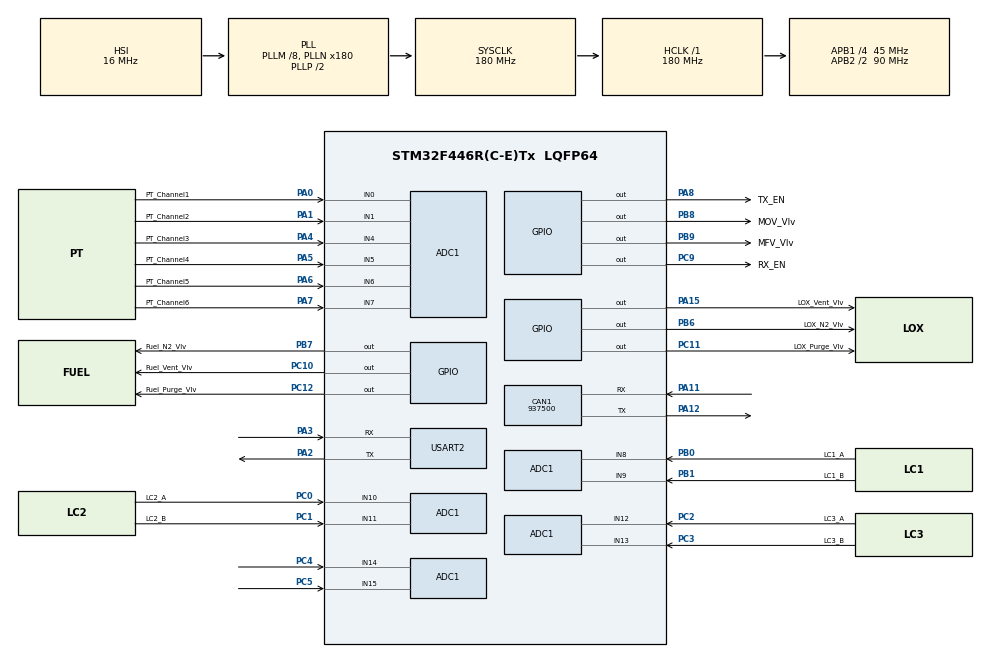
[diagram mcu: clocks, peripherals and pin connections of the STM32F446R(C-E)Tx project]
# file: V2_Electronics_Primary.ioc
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ADC1.Channel-0\#ChannelRegularConversion=ADC_CHANNEL_4
ADC1.ContinuousConvMode=ENABLE
ADC1.DMAContinuousRequests=ENABLE
ADC1.NbrOfConversionFlag=1
ADC1.Rank-0\#ChannelRegularConversion=1
ADC1.SamplingTime-0\#ChannelRegularConversion=ADC_SAMPLETIME_3CYCLES
ADC1.ScanConvMode=ENABLE
ADC1.master=1
CAN1.CalculateBaudRate=937500
CAN1.CalculateTimeBit=1066
CAN1.CalculateTimeQuantum=355.55555555555554
Dma.ADC1.0.Direction=DMA_PERIPH_TO_MEMORY
Dma.ADC1.0.FIFOMode=DMA_FIFOMODE_ENABLE
Dma.ADC1.0.FIFOThreshold=DMA_FIFO_THRESHOLD_FULL
Dma.ADC1.0.Instance=DMA2_Stream0
Dma.ADC1.0.MemBurst=DMA_MBURST_SINGLE
Dma.ADC1.0.MemDataAlignment=DMA_MDATAALIGN_WORD
Dma.ADC1.0.MemInc=DMA_MINC_ENABLE
Dma.ADC1.0.Mode=DMA_CIRCULAR
Dma.ADC1.0.PeriphBurst=DMA_PBURST_SINGLE
Dma.ADC1.0.PeriphDataAlignment=DMA_PDATAALIGN_HALFWORD
Dma.ADC1.0.PeriphInc=DMA_PINC_DISABLE
Dma.ADC1.0.Priority=DMA_PRIORITY_VERY_HIGH
Dma.Request0=ADC1
Dma.Request1=USART2_RX
Dma.USART2_RX.1.Direction=DMA_PERIPH_TO_MEMORY
Dma.USART2_RX.1.FIFOMode=DMA_FIFOMODE_DISABLE
Dma.USART2_RX.1.Instance=DMA1_Stream5
Dma.USART2_RX.1.MemDataAlignment=DMA_MDATAALIGN_BYTE
Dma.USART2_RX.1.MemInc=DMA_MINC_ENABLE
Dma.USART2_RX.1.Mode=DMA_NORMAL
Dma.USART2_RX.1.PeriphDataAlignment=DMA_PDATAALIGN_BYTE
Dma.USART2_RX.1.PeriphInc=DMA_PINC_DISABLE
Dma.USART2_RX.1.Priority=DMA_PRIORITY_MEDIUM
FREERTOS.Tasks01=Check_Redline,40,128,Start_Check_Redline,Default,NULL,Dynamic,NULL,NULL;Command_Process,24,128,Start_Command_Process,Default,NULL,Dynamic,NULL,NULL;Telemetry_Sendh,8,128,Start_Telemetry_Sendhousekeeping,Default,NULL,Dynamic,NULL,NULL
FREERTOS.configENABLE_FPU=1
Mcu.Family=STM32F4
Mcu.Name=STM32F446R(C-E)Tx
Mcu.Package=LQFP64
NVIC.ADC_IRQn=true\:5\:0\:false\:false\:true\:true\:true\:true\:true
NVIC.DMA1_Stream5_IRQn=true\:5\:0\:false\:false\:true\:true\:false\:true\:true
NVIC.DMA2_Stream0_IRQn=true\:5\:0\:false\:false\:true\:true\:false\:true\:true
NVIC.PriorityGroup=NVIC_PRIORITYGROUP_4
NVIC.TIM2_IRQn=true\:5\:0\:false\:false\:true\:true\:true\:true\:true
NVIC.TIM6_DAC_IRQn=true\:15\:0\:false\:false\:true\:false\:false\:true\:true
NVIC.TimeBase=TIM6_DAC_IRQn
NVIC.TimeBaseIP=TIM6
NVIC.USART2_IRQn=true\:5\:0\:false\:false\:true\:true\:true\:true\:true
PA0-WKUP.GPIO_Label=PT_Channel1
PA0-WKUP.Signal=ADCx_IN0
PA1.GPIO_Label=PT_Channel2
PA1.Signal=ADCx_IN1
PA11.Mode=CAN_Activate
PA11.Signal=CAN1_RX
PA12.Mode=CAN_Activate
PA12.Signal=CAN1_TX
PA13.Mode=Trace_Asynchronous_SW
PA13.Signal=SYS_JTMS-SWDIO
PA14.Mode=Trace_Asynchronous_SW
PA14.Signal=SYS_JTCK-SWCLK
PA15.GPIO_Label=LOX_Vent_Vlv
PA15.Signal=GPIO_Output
PA2.Mode=Asynchronous
PA2.Signal=USART2_TX
PA3.Mode=Asynchronous
PA3.Signal=USART2_RX
PA4.GPIO_Label=PT_Channel3
PA4.Signal=ADCx_IN4
PA5.GPIO_Label=PT_Channel4
PA5.Signal=ADCx_IN5
PA6.GPIO_Label=PT_Channel5
PA6.Signal=ADCx_IN6
PA7.GPIO_Label=PT_Channel6
PA7.Signal=ADCx_IN7
PA8.GPIO_Label=TX_EN
PA8.Signal=GPIO_Output
PB0.GPIO_Label=LC1_A
PB0.Signal=ADCx_IN8
PB1.GPIO_Label=LC1_B
PB1.Signal=ADCx_IN9
PB3.Mode=Trace_Asynchronous_SW
PB3.Signal=SYS_JTDO-SWO
PB6.GPIO_Label=LOX_N2_Vlv
PB6.Signal=GPIO_Output
PB7.GPIO_Label=Fuel_N2_Vlv
PB7.Signal=GPIO_Output
PB8.GPIO_Label=MOV_Vlv
PB8.Signal=GPIO_Output
PB9.GPIO_Label=MFV_Vlv
PB9.Signal=GPIO_Output
PC0.GPIO_Label=LC2_A
PC0.Signal=ADCx_IN10
PC1.GPIO_Label=LC2_B
PC1.Signal=ADCx_IN11
PC10.GPIO_Label=Fuel_Vent_Vlv
PC10.Signal=GPIO_Output
PC11.GPIO_Label=LOX_Purge_Vlv
PC11.Signal=GPIO_Output
PC12.GPIO_Label=Fuel_Purge_Vlv
PC12.Signal=GPIO_Output
PC2.GPIO_Label=LC3_A
PC2.Signal=ADCx_IN12
PC3.GPIO_Label=LC3_B
PC3.Signal=ADCx_IN13
PC4.Signal=ADCx_IN14
PC5.Signal=ADCx_IN15
PC9.GPIO_Label=RX_EN
PC9.Signal=GPIO_Output
ProjectManager.HeapSize=0x200
ProjectManager.StackSize=0x400
ProjectManager.TargetToolchain=STM32CubeIDE
RCC.AHBFreq_Value=180000000
RCC.APB1CLKDivider=RCC_HCLK_DIV4
RCC.APB1Freq_Value=45000000
RCC.APB1TimFreq_Value=90000000
RCC.APB2CLKDivider=RCC_HCLK_DIV2
RCC.APB2Freq_Value=90000000
RCC.APB2TimFreq_Value=180000000
RCC.CortexFreq_Value=180000000
RCC.HCLKFreq_Value=180000000
RCC.PLLM=8
RCC.PLLN=180
RCC.SYSCLKFreq_VALUE=180000000
RCC.SYSCLKSource=RCC_SYSCLKSOURCE_PLLCLK
RCC.USBFreq_Value=180000000
RCC.VCOOutputFreq_Value=360000000
SH.ADCx_IN0.0=ADC1_IN0,IN0
SH.ADCx_IN1.0=ADC1_IN1,IN1
SH.ADCx_IN10.0=ADC1_IN10,IN10
SH.ADCx_IN11.0=ADC1_IN11,IN11
SH.ADCx_IN12.0=ADC1_IN12,IN12
SH.ADCx_IN13.0=ADC1_IN13,IN13
SH.ADCx_IN14.0=ADC1_IN14,IN14
SH.ADCx_IN15.0=ADC1_IN15,IN15
SH.ADCx_IN4.0=ADC1_IN4,IN4
SH.ADCx_IN5.0=ADC1_IN5,IN5
SH.ADCx_IN6.0=ADC1_IN6,IN6
SH.ADCx_IN7.0=ADC1_IN7,IN7
SH.ADCx_IN8.0=ADC1_IN8,IN8
SH.ADCx_IN9.0=ADC1_IN9,IN9
TIM2.Period=10 - 1
TIM2.Prescaler=9000 - 1
USART2.VirtualMode=VM_ASYNC
VP_FREERTOS_VS_CMSIS_V2.Mode=CMSIS_V2
VP_SYS_VS_tim6.Mode=TIM6
VP_TIM2_VS_ClockSourceINT.Mode=Internal
board=NUCLEO-F446RE

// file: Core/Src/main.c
/* USER CODE BEGIN Header */
/**
 ******************************************************************************
 * @file           : main.c
 * @brief          : Main program body
 ******************************************************************************
 * @attention
 *
 * Copyright (c) 2026 STMicroelectronics.
 * All rights reserved.
 *
 * This software is licensed under terms that can be found in the LICENSE file
 * in the root directory of this software component.
 * If no LICENSE file comes with this software, it is provided AS-IS.
 *
 ******************************************************************************
 */
/* USER CODE END Header */
#include "main.h"
#include "cmsis_os.h"

/* USER CODE BEGIN Includes */
#include "sensors.h"
#include "scheduler.h"
#include "command.h"
#include "tasks.h"
/* USER CODE END Includes */

/* USER CODE BEGIN PD */
#define ACD_BUF_LEN 4096
/* USER CODE END PD */

ADC_HandleTypeDef hadc1;
DMA_HandleTypeDef hdma_adc1;

CAN_HandleTypeDef hcan1;

TIM_HandleTypeDef htim2;

UART_HandleTypeDef huart2;
DMA_HandleTypeDef hdma_usart2_rx;

/* Definitions for Check_Redline */
osThreadId_t Check_RedlineHandle;
const osThreadAttr_t Check_Redline_attributes = {
  .name = "Check_Redline",
  .stack_size = 128 * 4,
  .priority = (osPriority_t) osPriorityHigh,
};
/* Definitions for Command_Process */
osThreadId_t Command_ProcessHandle;
const osThreadAttr_t Command_Process_attributes = {
  .name = "Command_Process",
  .stack_size = 128 * 4,
  .priority = (osPriority_t) osPriorityNormal,
};
/* Definitions for Telemetry_Sendh */
osThreadId_t Telemetry_SendhHandle;
const osThreadAttr_t Telemetry_Sendh_attributes = {
  .name = "Telemetry_Sendh",
  .stack_size = 128 * 4,
  .priority = (osPriority_t) osPriorityLow,
};
/* USER CODE BEGIN PV */

uint8_t currentState = Idle;
/* USER CODE END PV */

void SystemClock_Config(void);
static void MX_GPIO_Init(void);
static void MX_DMA_Init(void);
static void MX_ADC1_Init(void);
static void MX_TIM2_Init(void);
static void MX_USART2_UART_Init(void);
static void MX_CAN1_Init(void);
void Start_Check_Redline(void *argument);
void Start_Command_Process(void *argument);
void Start_Telemetry_Sendhousekeeping(void *argument);

int main(void)
{

  /* MCU Configuration--------------------------------------------------------*/

  /* Reset of all peripherals, Initializes the Flash interface and the Systick. */
  HAL_Init();

  /* Configure the system clock */
  SystemClock_Config();

  /* Initialize all configured peripherals */
  MX_GPIO_Init();
  MX_DMA_Init();
  MX_ADC1_Init();
  MX_TIM2_Init();
  MX_USART2_UART_Init();
  MX_CAN1_Init();
  /* USER CODE BEGIN 2 */
	HAL_TIM_Base_Start_IT(&htim2); //start the timer interupt
	Sensors_Init();
	Command_Init();
  /* USER CODE END 2 */

  /* Init scheduler */
  osKernelInitialize();

  /* Create the thread(s) */
  /* creation of Check_Redline */
  Check_RedlineHandle = osThreadNew(Start_Check_Redline, NULL, &Check_Redline_attributes);

  /* creation of Command_Process */
  Command_ProcessHandle = osThreadNew(Start_Command_Process, NULL, &Command_Process_attributes);

  /* creation of Telemetry_Sendh */
  Telemetry_SendhHandle = osThreadNew(Start_Telemetry_Sendhousekeeping, NULL, &Telemetry_Sendh_attributes);

  /* Start scheduler */
  osKernelStart();

  /* We should never get here as control is now taken by the scheduler */

  /* Infinite loop */
	while (1)
	{

	}
}

void SystemClock_Config(void)
{
  RCC_OscInitTypeDef RCC_OscInitStruct = {0};
  RCC_ClkInitTypeDef RCC_ClkInitStruct = {0};

  /** Configure the main internal regulator output voltage
  */
  __HAL_RCC_PWR_CLK_ENABLE();
  __HAL_PWR_VOLTAGESCALING_CONFIG(PWR_REGULATOR_VOLTAGE_SCALE1);

  /** Initializes the RCC Oscillators according to the specified parameters
  * in the RCC_OscInitTypeDef structure.
  */
  RCC_OscInitStruct.OscillatorType = RCC_OSCILLATORTYPE_HSI;
  RCC_OscInitStruct.HSIState = RCC_HSI_ON;
  RCC_OscInitStruct.HSICalibrationValue = RCC_HSICALIBRATION_DEFAULT;
  RCC_OscInitStruct.PLL.PLLState = RCC_PLL_ON;
  RCC_OscInitStruct.PLL.PLLSource = RCC_PLLSOURCE_HSI;
  RCC_OscInitStruct.PLL.PLLM = 8;
  RCC_OscInitStruct.PLL.PLLN = 180;
  RCC_OscInitStruct.PLL.PLLP = RCC_PLLP_DIV2;
  RCC_OscInitStruct.PLL.PLLQ = 2;
  RCC_OscInitStruct.PLL.PLLR = 2;
  if (HAL_RCC_OscConfig(&RCC_OscInitStruct) != HAL_OK)
  {
    Error_Handler();
  }

  /** Activate the Over-Drive mode
  */
  if (HAL_PWREx_EnableOverDrive() != HAL_OK)
  {
    Error_Handler();
  }

  /** Initializes the CPU, AHB and APB buses clocks
  */
  RCC_ClkInitStruct.ClockType = RCC_CLOCKTYPE_HCLK|RCC_CLOCKTYPE_SYSCLK
                              |RCC_CLOCKTYPE_PCLK1|RCC_CLOCKTYPE_PCLK2;
  RCC_ClkInitStruct.SYSCLKSource = RCC_SYSCLKSOURCE_PLLCLK;
  RCC_ClkInitStruct.AHBCLKDivider = RCC_SYSCLK_DIV1;
  RCC_ClkInitStruct.APB1CLKDivider = RCC_HCLK_DIV4;
  RCC_ClkInitStruct.APB2CLKDivider = RCC_HCLK_DIV2;

  if (HAL_RCC_ClockConfig(&RCC_ClkInitStruct, FLASH_LATENCY_5) != HAL_OK)
  {
    Error_Handler();
  }
}

static void MX_ADC1_Init(void)
{

  ADC_ChannelConfTypeDef sConfig = {0};

  /** Configure the global features of the ADC (Clock, Resolution, Data Alignment and number of conversion)
  */
  hadc1.Instance = ADC1;
  hadc1.Init.ClockPrescaler = ADC_CLOCK_SYNC_PCLK_DIV4;
  hadc1.Init.Resolution = ADC_RESOLUTION_12B;
  hadc1.Init.ScanConvMode = ENABLE;
  hadc1.Init.ContinuousConvMode = ENABLE;
  hadc1.Init.DiscontinuousConvMode = DISABLE;
  hadc1.Init.ExternalTrigConvEdge = ADC_EXTERNALTRIGCONVEDGE_NONE;
  hadc1.Init.ExternalTrigConv = ADC_SOFTWARE_START;
  hadc1.Init.DataAlign = ADC_DATAALIGN_RIGHT;
  hadc1.Init.NbrOfConversion = 1;
  hadc1.Init.DMAContinuousRequests = ENABLE;
  hadc1.Init.EOCSelection = ADC_EOC_SINGLE_CONV;
  if (HAL_ADC_Init(&hadc1) != HAL_OK)
  {
    Error_Handler();
  }

  /** Configure for the selected ADC regular channel its corresponding rank in the sequencer and its sample time.
  */
  sConfig.Channel = ADC_CHANNEL_4;
  sConfig.Rank = 1;
  sConfig.SamplingTime = ADC_SAMPLETIME_3CYCLES;
  if (HAL_ADC_ConfigChannel(&hadc1, &sConfig) != HAL_OK)
  {
    Error_Handler();
  }

}

static void MX_CAN1_Init(void)
{

  hcan1.Instance = CAN1;
  hcan1.Init.Prescaler = 16;
  hcan1.Init.Mode = CAN_MODE_NORMAL;
  hcan1.Init.SyncJumpWidth = CAN_SJW_1TQ;
  hcan1.Init.TimeSeg1 = CAN_BS1_1TQ;
  hcan1.Init.TimeSeg2 = CAN_BS2_1TQ;
  hcan1.Init.TimeTriggeredMode = DISABLE;
  hcan1.Init.AutoBusOff = DISABLE;
  hcan1.Init.AutoWakeUp = DISABLE;
  hcan1.Init.AutoRetransmission = DISABLE;
  hcan1.Init.ReceiveFifoLocked = DISABLE;
  hcan1.Init.TransmitFifoPriority = DISABLE;
  if (HAL_CAN_Init(&hcan1) != HAL_OK)
  {
    Error_Handler();
  }

}

static void MX_TIM2_Init(void)
{

  TIM_ClockConfigTypeDef sClockSourceConfig = {0};
  TIM_MasterConfigTypeDef sMasterConfig = {0};

  htim2.Instance = TIM2;
  htim2.Init.Prescaler = 9000 - 1;
  htim2.Init.CounterMode = TIM_COUNTERMODE_UP;
  htim2.Init.Period = 10 - 1;
  htim2.Init.ClockDivision = TIM_CLOCKDIVISION_DIV1;
  htim2.Init.AutoReloadPreload = TIM_AUTORELOAD_PRELOAD_DISABLE;
  if (HAL_TIM_Base_Init(&htim2) != HAL_OK)
  {
    Error_Handler();
  }
  sClockSourceConfig.ClockSource = TIM_CLOCKSOURCE_INTERNAL;
  if (HAL_TIM_ConfigClockSource(&htim2, &sClockSourceConfig) != HAL_OK)
  {
    Error_Handler();
  }
  sMasterConfig.MasterOutputTrigger = TIM_TRGO_RESET;
  sMasterConfig.MasterSlaveMode = TIM_MASTERSLAVEMODE_DISABLE;
  if (HAL_TIMEx_MasterConfigSynchronization(&htim2, &sMasterConfig) != HAL_OK)
  {
    Error_Handler();
  }

}

static void MX_USART2_UART_Init(void)
{

  huart2.Instance = USART2;
  huart2.Init.BaudRate = 115200;
  huart2.Init.WordLength = UART_WORDLENGTH_8B;
  huart2.Init.StopBits = UART_STOPBITS_1;
  huart2.Init.Parity = UART_PARITY_NONE;
  huart2.Init.Mode = UART_MODE_TX_RX;
  huart2.Init.HwFlowCtl = UART_HWCONTROL_NONE;
  huart2.Init.OverSampling = UART_OVERSAMPLING_16;
  if (HAL_UART_Init(&huart2) != HAL_OK)
  {
    Error_Handler();
  }

}

static void MX_DMA_Init(void)
{

  /* DMA controller clock enable */
  __HAL_RCC_DMA2_CLK_ENABLE();
  __HAL_RCC_DMA1_CLK_ENABLE();

  /* DMA interrupt init */
  /* DMA1_Stream5_IRQn interrupt configuration */
  HAL_NVIC_SetPriority(DMA1_Stream5_IRQn, 5, 0);
  HAL_NVIC_EnableIRQ(DMA1_Stream5_IRQn);
  /* DMA2_Stream0_IRQn interrupt configuration */
  HAL_NVIC_SetPriority(DMA2_Stream0_IRQn, 5, 0);
  HAL_NVIC_EnableIRQ(DMA2_Stream0_IRQn);

}

static void MX_GPIO_Init(void)
{
  GPIO_InitTypeDef GPIO_InitStruct = {0};

  /* GPIO Ports Clock Enable */
  __HAL_RCC_GPIOC_CLK_ENABLE();
  __HAL_RCC_GPIOA_CLK_ENABLE();
  __HAL_RCC_GPIOB_CLK_ENABLE();

  /*Configure GPIO pin Output Level */
  HAL_GPIO_WritePin(GPIOC, RX_EN_Pin|Fuel_Vent_Vlv_Pin|LOX_Purge_Vlv_Pin|Fuel_Purge_Vlv_Pin, GPIO_PIN_RESET);

  /*Configure GPIO pin Output Level */
  HAL_GPIO_WritePin(GPIOA, TX_EN_Pin|LOX_Vent_Vlv_Pin, GPIO_PIN_RESET);

  /*Configure GPIO pin Output Level */
  HAL_GPIO_WritePin(GPIOB, LOX_N2_Vlv_Pin|Fuel_N2_Vlv_Pin|MOV_Vlv_Pin|MFV_Vlv_Pin, GPIO_PIN_RESET);

  /*Configure GPIO pins : RX_EN_Pin Fuel_Vent_Vlv_Pin LOX_Purge_Vlv_Pin Fuel_Purge_Vlv_Pin */
  GPIO_InitStruct.Pin = RX_EN_Pin|Fuel_Vent_Vlv_Pin|LOX_Purge_Vlv_Pin|Fuel_Purge_Vlv_Pin;
  GPIO_InitStruct.Mode = GPIO_MODE_OUTPUT_PP;
  GPIO_InitStruct.Pull = GPIO_NOPULL;
  GPIO_InitStruct.Speed = GPIO_SPEED_FREQ_LOW;
  HAL_GPIO_Init(GPIOC, &GPIO_InitStruct);

  /*Configure GPIO pins : TX_EN_Pin LOX_Vent_Vlv_Pin */
  GPIO_InitStruct.Pin = TX_EN_Pin|LOX_Vent_Vlv_Pin;
  GPIO_InitStruct.Mode = GPIO_MODE_OUTPUT_PP;
  GPIO_InitStruct.Pull = GPIO_NOPULL;
  GPIO_InitStruct.Speed = GPIO_SPEED_FREQ_LOW;
  HAL_GPIO_Init(GPIOA, &GPIO_InitStruct);

  /*Configure GPIO pins : LOX_N2_Vlv_Pin Fuel_N2_Vlv_Pin MOV_Vlv_Pin MFV_Vlv_Pin */
  GPIO_InitStruct.Pin = LOX_N2_Vlv_Pin|Fuel_N2_Vlv_Pin|MOV_Vlv_Pin|MFV_Vlv_Pin;
  GPIO_InitStruct.Mode = GPIO_MODE_OUTPUT_PP;
  GPIO_InitStruct.Pull = GPIO_NOPULL;
  GPIO_InitStruct.Speed = GPIO_SPEED_FREQ_LOW;
  HAL_GPIO_Init(GPIOB, &GPIO_InitStruct);

}

void Start_Check_Redline(void *argument)
{
  /* USER CODE BEGIN 5 */
  /* Infinite loop */
  for(;;)
  {
	printf("Check Redline \n");
    osDelay(1);
  }
  /* USER CODE END 5 */
}

void Start_Command_Process(void *argument)
{
  /* USER CODE BEGIN Start_Command_Process */
  /* Infinite loop */
  for(;;)
  {
	printf("Command Processing \n");
	Commands_Process();
    osDelay(10);
  }
  /* USER CODE END Start_Command_Process */
}

void Start_Telemetry_Sendhousekeeping(void *argument)
{
  /* USER CODE BEGIN Start_Telemetry_Sendhousekeeping */
  /* Infinite loop */
  for(;;)
  {
	printf("Send housekeeping tlm \n");
    osDelay(50);
  }
  /* USER CODE END Start_Telemetry_Sendhousekeeping */
}

void HAL_TIM_PeriodElapsedCallback(TIM_HandleTypeDef *htim)
{
  if (htim->Instance == TIM6)
  {
    HAL_IncTick();
  }
}

void Error_Handler(void)
{
	__disable_irq();
	while (1)
	{
	}
}
